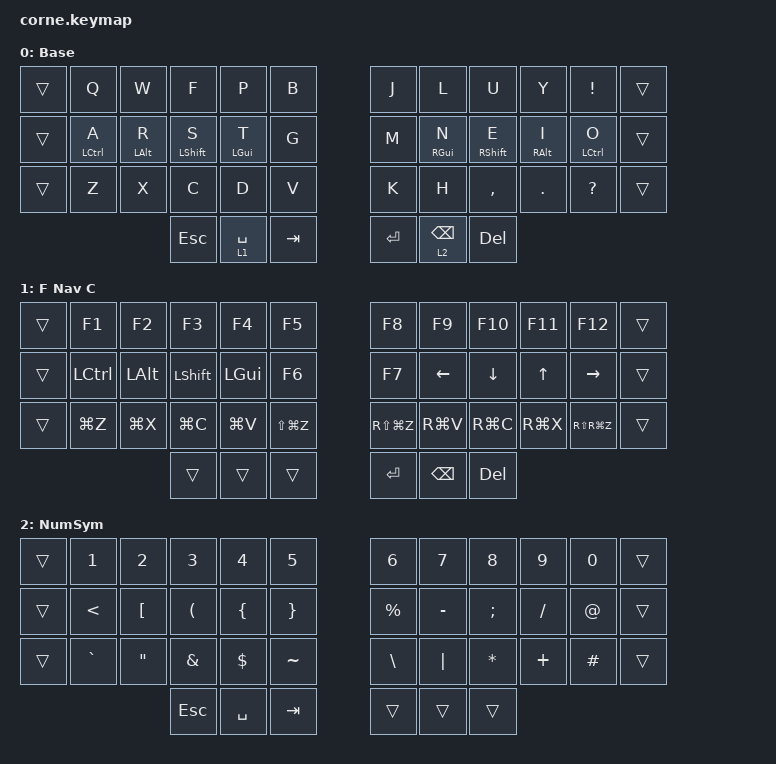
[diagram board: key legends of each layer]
/*
 * Copyright (c) 2020 The ZMK Contributors
 *
 * SPDX-License-Identifier: MIT
 */

#include <behaviors.dtsi>
#include <dt-bindings/zmk/keys.h>
#include <dt-bindings/zmk/bt.h>

// This is the Colemak-DH keymap for the Corne 36 keyboard inspired by Miryoku.

/ {
    // conditional_layers {
    //     compatible = "zmk,conditional-layers";
    //     tri_layer {
    //         if-layers = <1 2>;
    //         then-layer = <3>;
    //     };
    // };

    keymap {
        compatible = "zmk,keymap";

        default_layer {
            // Base
            display-name = "Base";
            bindings = <
//      ╭────────────┬────────────┬────────────┬────────────┬────────────╮   ╭────────────┬────────────┬────────────┬────────────┬────────────╮
//      │ Q          │ W          │ F          │ P          │ B          │   │ J          │ L          │ U          │ Y          │ !          │
&trans  &kp Q        &kp W        &kp F        &kp P        &kp B            &kp J        &kp L        &kp U        &kp Y        &kp EXCL       &trans
//      ├────────────┼────────────┼────────────┼────────────┼────────────┤   ├────────────┼────────────┼────────────┼────────────┼────────────┤
//      │ Ctrl A     │ Alt R      │ Shift S    │ GUI T      │ G          │   │ M          │ GUI N      │ Shift E    │ Alt I      │ Ctrl O     │
&trans  &mt LCTRL A  &mt LALT R   &mt LSHIFT S &mt LGUI T   &kp G            &kp M        &mt RGUI N   &mt RSHIFT E &mt RALT I   &mt LCTRL O    &trans
//      ├────────────┼────────────┼────────────┼────────────┼────────────┤   ├────────────┼────────────┼────────────┼────────────┼────────────┤
//      │ Z          │ X          │ C          │ D          │ V          │   │ K          │ H          │ ,          │ .          │ ?          │
&trans  &kp Z        &kp X        &kp C        &kp D        &kp V            &kp K        &kp H        &kp COMMA    &kp DOT      &kp QMARK      &trans
//      ╰────────────┴────────────┼────────────┼────────────┼────────────┤   ├────────────┼────────────┼────────────┼────────────┴────────────╯
//                                │ Esc        │ Lwr Space  │ Tab        │   │ Enter      │ Rse Bksp   │ Del        │
                                  &kp ESC      &lt 1 SPACE  &kp TAB          &kp RET      &lt 2 BSPC   &kp DEL
//                                ╰────────────┴────────────┴────────────╯   ╰────────────┴────────────┴────────────╯
            >;
        };

        lower_layer {
            // F keys + Navigation + Clipboard
            display-name = "F Nav C";
            bindings = <
//      ╭────────────┬────────────┬────────────┬────────────┬────────────╮   ╭────────────┬────────────┬────────────┬────────────┬────────────╮
//      │ F1         │ F2         │ F3         │ F4         │ F5         │   │ F8         │ F9         │ F10        │ F11        │ F12        │
&trans  &kp F1       &kp F2       &kp F3       &kp F4       &kp F5           &kp F8       &kp F9       &kp F10      &kp F11      &kp F12        &trans
//      ├────────────┼────────────┼────────────┼────────────┼────────────┤   ├────────────┼────────────┼────────────┼────────────┼────────────┤
//      │ Ctrl       │ Alt        │ Shift      │ GUI        │            │   │ F7         │ Left       │ Down       │ Up         │ Right      │
&trans  &kp LCTRL    &kp LALT     &kp LSHIFT   &kp LGUI     &kp F6           &kp F7       &kp LEFT     &kp DOWN     &kp UP       &kp RIGHT      &trans
//      ├────────────┼────────────┼────────────┼────────────┼────────────┤   ├────────────┼────────────┼────────────┼────────────┼────────────┤
//      │ Undo       │ Cut        │ Copy       │ Paste      │ Redo       │   │ Redo       │ Paste      │ Copy       │ Cut        │ Undo       │
&trans  &kp LG(Z)    &kp LG(X)    &kp LG(C)    &kp LG(V)    &kp LS(LG(Z))    &kp RS(LG(Z)) &kp RG(V)   &kp RG(C)    &kp RG(X)    &kp RS(RG(Z))  &trans
//      ╰────────────┴────────────┼────────────┼────────────┼────────────┤   ├────────────┼────────────┼────────────┼────────────┴────────────╯
//                                │            │            │            │   │ Enter      │ Bksp       │ Del        │
                                  &trans       &trans       &trans           &kp RET      &kp BSPC     &kp DEL
//                                ╰────────────┴────────────┴────────────╯   ╰────────────┴────────────┴────────────╯
            >;
        };

// symbols by frequency (descending):
// '.,:{;-(=/_<@*$?[|!&`#%+"\°^
// .',:{(;=/-_<@?[*|!$&`"#+%\~

        raise_layer {
            // Numbers + Symbols
            display-name = "NumSym";
            bindings = <
//      ╭────────────┬────────────┬────────────┬────────────┬────────────╮   ╭────────────┬────────────┬────────────┬────────────┬────────────╮
//      │ 1          │ 2          │ 3          │ 4          │ 5          │   │ 6          │ 7          │ 8          │ 9          │ 0          │
&trans  &kp N1       &kp N2       &kp N3       &kp N4       &kp N5           &kp N6       &kp N7       &kp N8       &kp N9       &kp N0         &trans
//      ├────────────┼────────────┼────────────┼────────────┼────────────┤   ├────────────┼────────────┼────────────┼────────────┼────────────┤
//      │ <          │ [          │ (          │ {          │ }          │   │ %          │ -          │ ;          │ /          │ @          │
&trans  &kp LT       &kp LBKT     &kp LPAR     &kp LBRC     &kp RBRC         &kp PRCNT    &kp MINUS    &kp SEMI     &kp FSLH     &kp AT         &trans
//      ├────────────┼────────────┼────────────┼────────────┼────────────┤   ├────────────┼────────────┼────────────┼────────────┼────────────┤
//      │ `          │ "          │ &          │ $          │ ~          │   │ \          │ |          │ *          │ +          │ #          │
&trans  &kp GRAVE    &kp DQT      &kp AMPS     &kp DLLR     &kp TILDE        &kp BSLH     &kp PIPE     &kp STAR     &kp PLUS     &kp HASH       &trans
//      ╰────────────┴────────────┼────────────┼────────────┼────────────┤   ├────────────┼────────────┼────────────┼────────────┴────────────╯
//                                │ Esc        │ Space      │ Tab        │   │            │            │            │
                                  &kp ESC      &kp SPACE    &kp TAB          &trans       &trans       &trans
//                                ╰────────────┴────────────┴────────────╯   ╰────────────┴────────────┴────────────╯
            >;
        };

//         tri_layer {
//             // Media controls + Misc
//             display-name = "MediaEtc";
//             bindings = <
// //      ╭────────────┬────────────┬────────────┬────────────┬────────────╮   ╭────────────┬────────────┬────────────┬────────────┬────────────╮
// //      │            │            │            │            │            │   │            │            │            │            │            │
// &trans  &trans       &trans       &trans       &trans       &trans           &trans       &trans       &trans       &trans       &trans         &trans
// //      ├────────────┼────────────┼────────────┼────────────┼────────────┤   ├────────────┼────────────┼────────────┼────────────┼────────────┤
// //      │            │ Bright Dwn │ Bright Up  │ Globe      │            │   │            │ Mute       │ Vol Down   │ Vol Up     │            │
// &trans  &trans       &kp C_BRI_DN &kp C_BRI_UP &kp GLOBE    &trans           &trans       &kp C_MUTE   &kp C_VOL_DN &kp C_VOL_UP &trans         &trans
// //      ├────────────┼────────────┼────────────┼────────────┼────────────┤   ├────────────┼────────────┼────────────┼────────────┼────────────┤
// //      │            │            │            │            │            │   │            │ Previous   │ Play       │ Next       │            │
// &trans  &trans       &trans       &trans       &trans       &trans           &trans       &kp C_PREV   &kp C_PP     &kp C_NEXT   &trans         &trans
// //      ╰────────────┴────────────┼────────────┼────────────┼────────────┤   ├────────────┼────────────┼────────────┼────────────┴────────────╯
// //                                │            │            │            │   │            │            │            │
//                                   &trans       &trans       &trans           &trans       &trans       &trans
// //                                ╰────────────┴────────────┴────────────╯   ╰────────────┴────────────┴────────────╯
//             >;
//         };
    };

    combos {
        compatible = "zmk,combos";

        // Global
        combo_esc {
            // Esc
            key-positions = <1 2>;
            bindings = <&kp ESC>;
        };
        combo_brightness_down {
            // Brightness Down
            key-positions = <2 3>;
            bindings = <&kp C_BRI_DN>;
        };
        combo_brightness_up {
            // Brightness Up
            key-positions = <3 4>;
            bindings = <&kp C_BRI_UP>;
        };
        combo_volume_down {
            // Volume Down
            key-positions = <7 8>;
            bindings = <&kp C_VOL_DN>;
        };
        combo_volume_up {
            // Volume Up
            key-positions = <8 9>;
            bindings = <&kp C_VOL_UP>;
        };
        combo_mute {
            // Mute
            key-positions = <7 8 9>;
            bindings = <&kp C_MUTE>;
        };

        // Base
        combo_underscore {
            // _
            key-positions = <26 27>;
            bindings = <&kp UNDER>;
            layers = <0>;
        };
        combo_apostrophe {
            // '
            key-positions = <27 28>;
            bindings = <&kp SQT>;
            layers = <0>;
        };
        combo_caret {
            // ^
            key-positions = <28 29>;
            bindings = <&kp CARET>;
            layers = <0>;
        };
        combo_colon {
            // :
            key-positions = <31 32>;
            bindings = <&kp COLON>;
            layers = <0>;
        };
        combo_equal {
            // =
            key-positions = <32 33>;
            bindings = <&kp EQUAL>;
            layers = <0>;
        };

        // Raise
        combo_closing_parenthesis {
            // )
            key-positions = <15 16>;
            bindings = <&kp RPAR>;
            layers = <2>;
        };
        combo_closing_bracket {
            // ]
            key-positions = <14 15>;
            bindings = <&kp RBKT>;
            layers = <2>;
        };
        combo_greater_than {
            // >
            key-positions = <13 14>;
            bindings = <&kp GT>;
            layers = <2>;
        };
    };
};
